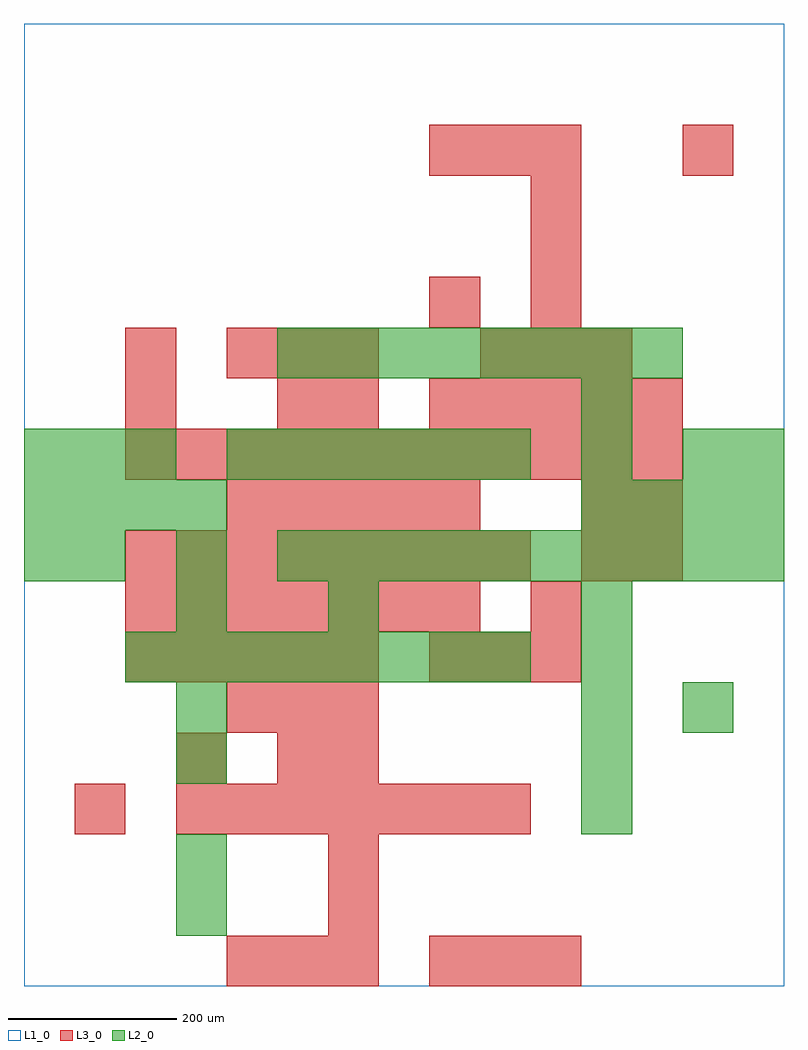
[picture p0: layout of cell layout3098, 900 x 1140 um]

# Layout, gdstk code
import gdstk
lib = gdstk.Library(unit=1e-6, precision=1e-09)
def R(c, l, rs):  # rectangles x0, y0, x1, y1
    for r in rs: c.add(gdstk.rectangle(r[:2], r[2:], *l))
def A(c, l, x, y, w, h, nx, ny, dx, dy):  # array of equal rectangles
    R(c, l, [(x+i*dx, y+j*dy, x+i*dx+w, y+j*dy+h) for i in range(nx) for j in range(ny)])
L1_0 = (1, 0)
L2_0 = (2, 0)
L3_0 = (3, 0)

layout3098 = lib.new_cell('layout3098')
R(layout3098, L1_0, [(0,0,900,1140)])
A(layout3098, L2_0, 660, 180, 60, 60, 1, 5, 0, 60)
A(layout3098, L2_0, 120, 360, 60, 60, 8, 1, 60, 0)
A(layout3098, L2_0, 60, 480, 60, 60, 3, 1, 120, 0)
A(layout3098, L2_0, 360, 480, 60, 60, 9, 1, 60, 0)
A(layout3098, L2_0, 0, 540, 60, 60, 4, 1, 60, 0)
A(layout3098, L2_0, 660, 540, 60, 60, 4, 1, 60, 0)
A(layout3098, L2_0, 0, 600, 60, 60, 3, 1, 60, 0)
A(layout3098, L2_0, 240, 600, 60, 60, 6, 1, 60, 0)
A(layout3098, L2_0, 300, 720, 60, 60, 8, 1, 60, 0)
R(layout3098, L2_0, [(180,60,240,120), (180,120,240,180), (180,240,240,300), (180,300,240,360), (780,300,840,360), (180,420,240,480), (360,420,420,480), (0,480,60,540), (660,600,720,660), (780,600,840,660), (840,600,900,660), (660,660,720,720)])
A(layout3098, L3_0, 240, 0, 60, 60, 3, 2, 60, 300)
A(layout3098, L3_0, 480, 0, 60, 60, 3, 2, 60, 360)
A(layout3098, L3_0, 180, 180, 60, 60, 7, 1, 60, 0)
A(layout3098, L3_0, 120, 360, 60, 60, 5, 1, 60, 0)
A(layout3098, L3_0, 120, 420, 60, 60, 7, 1, 60, 0)
A(layout3098, L3_0, 120, 480, 60, 60, 8, 1, 60, 0)
A(layout3098, L3_0, 240, 540, 60, 60, 5, 1, 60, 0)
A(layout3098, L3_0, 120, 600, 60, 60, 11, 1, 60, 0)
A(layout3098, L3_0, 480, 660, 60, 60, 5, 1, 60, 0)
A(layout3098, L3_0, 240, 720, 60, 60, 3, 1, 60, 0)
A(layout3098, L3_0, 540, 720, 60, 60, 3, 1, 60, 0)
A(layout3098, L3_0, 600, 780, 60, 60, 1, 3, 0, 60)
A(layout3098, L3_0, 480, 960, 60, 60, 3, 1, 60, 0)
R(layout3098, L3_0, [(360,60,420,120), (360,120,420,180), (60,180,120,240), (180,240,240,300), (300,240,360,300), (360,240,420,300), (600,420,660,480), (660,480,720,540), (720,480,780,540), (660,540,720,600), (720,540,780,600), (120,660,180,720), (300,660,360,720), (360,660,420,720), (120,720,180,780), (480,780,540,840), (780,960,840,1020)])

lib.write_gds('layout3098.gds')
